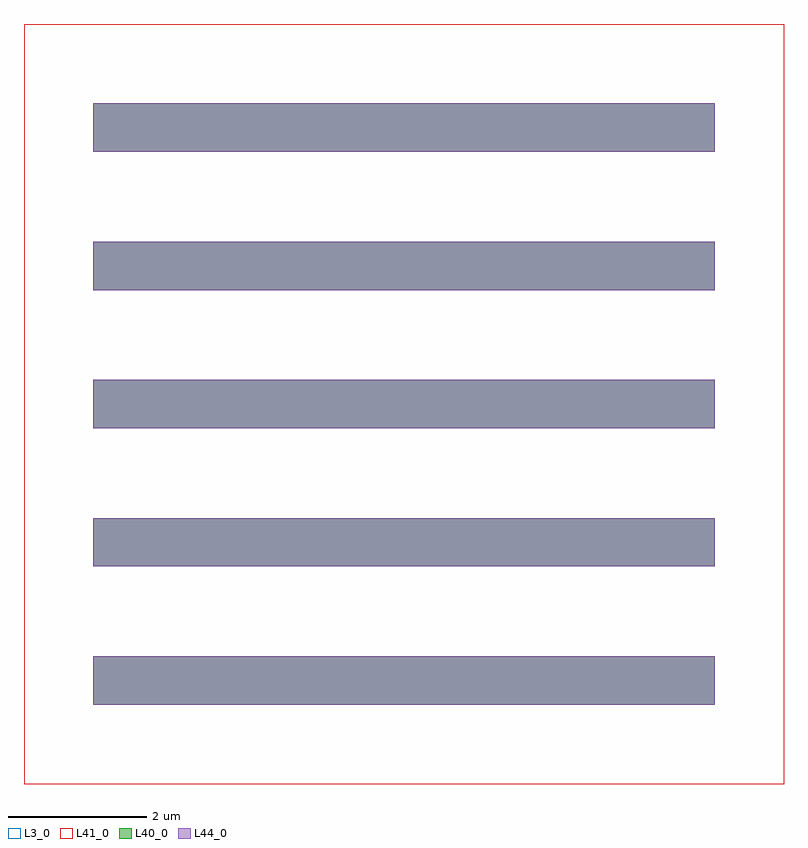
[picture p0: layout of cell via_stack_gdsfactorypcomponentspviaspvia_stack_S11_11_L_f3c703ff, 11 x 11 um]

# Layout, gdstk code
import gdstk
lib = gdstk.Library(unit=1e-6, precision=1e-09)
def R(c, l, rs):  # rectangles x0, y0, x1, y1
    for r in rs: c.add(gdstk.rectangle(r[:2], r[2:], *l))
L3_0 = (3, 0)
L40_0 = (40, 0)
L41_0 = (41, 0)
L44_0 = (44, 0)

compass_gdsfactorypcompo = lib.new_cell('compass_gdsfactorypcomponentspshapespcompass_S11_11_LSL_b4ad9d31')
R(compass_gdsfactorypcompo, L3_0, [(-5.5,-5.5,5.5,5.5)])

c_compass_gdsfactorypcompo = lib.new_cell('compass_gdsfactorypcomponentspshapespcompass_S11_11_LM1_5f83f55d')
R(c_compass_gdsfactorypcompo, L41_0, [(-5.5,-5.5,5.5,5.5)])

via_gdsfactorypcomponent = lib.new_cell('via_gdsfactorypcomponentspviaspvia_S9_0p700000000000000_b26d0493')
R(via_gdsfactorypcomponent, L40_0, [(-4.5,-0.35,4.5,0.35)])

c_via_gdsfactorypcomponent = lib.new_cell('via_gdsfactorypcomponentspviaspvia_S9_0p700000000000000_3d274afd')
R(c_via_gdsfactorypcomponent, L44_0, [(-4.5,-0.35,4.5,0.35)])

via_stack_gdsfactorypcom = lib.new_cell('via_stack_gdsfactorypcomponentspviaspvia_stack_S11_11_L_f3c703ff')
via_stack_gdsfactorypcom.add(gdstk.Reference(compass_gdsfactorypcompo, (0,0)))
via_stack_gdsfactorypcom.add(gdstk.Reference(c_compass_gdsfactorypcompo, (0,0)))
r = gdstk.Reference(via_gdsfactorypcomponent, (0,-4)); r.repetition = gdstk.Repetition(1, 5, v1=(0,0), v2=(0,2)); via_stack_gdsfactorypcom.add(r)
r = gdstk.Reference(c_via_gdsfactorypcomponent, (0,-4)); r.repetition = gdstk.Repetition(1, 5, v1=(0,0), v2=(0,2)); via_stack_gdsfactorypcom.add(r)

lib.write_gds('via_stack_gdsfactorypcomponentspviaspvia_stack_S11_11_L_f3c703ff.gds')
